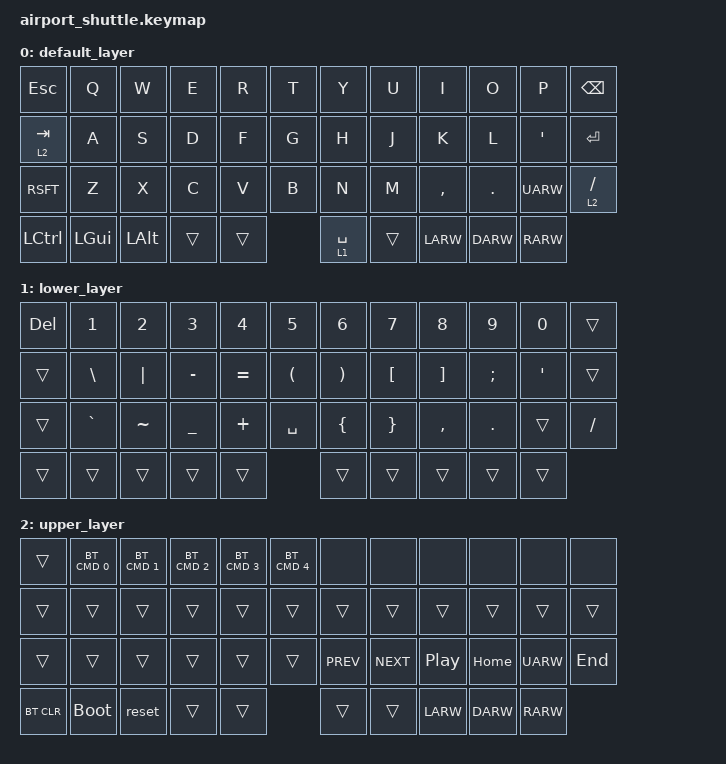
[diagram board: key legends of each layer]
#include <behaviors.dtsi>
#include <dt-bindings/zmk/keys.h>
#include <dt-bindings/zmk/bt.h>

/ {
  keymap {
    compatible = "zmk,keymap";

    default_layer {
      bindings = <
  &kp ESC       &kp Q    &kp W &kp E &kp R &kp T  &kp Y   &kp U  &kp I    &kp O   &kp P    &kp BKSP
  &lt 2 TAB     &kp A    &kp S &kp D &kp F &kp G  &kp H   &kp J  &kp K    &kp L   &kp QUOT &kp RET
  &kp RSFT      &kp Z    &kp X &kp C &kp V &kp B  &kp N   &kp M  &kp CMMA &kp DOT &kp UARW &lt 2 FSLH
  &kp LCTL      &kp LGUI &kp LALT &trans &trans &lt 1 SPC &trans &kp LARW &kp DARW &kp RARW
      >;
    };

    lower_layer {
      bindings = <
      &kp DEL &kp NUM_1   &kp NUM_2   &kp NUM_3   &kp NUM_4   &kp NUM_5   &kp NUM_6 &kp NUM_7 &kp NUM_8 &kp NUM_9 &kp NUM_0 &trans
      &trans  &kp BSLH &kp PIPE &kp MINUS &kp EQUAL &kp LPAR &kp RPAR &kp LBKT &kp RBKT &kp SEMI &kp SQT   &trans
      &trans  &kp GRAVE &kp TILDE &kp UNDER &kp PLUS &kp SPACE &kp LBRC &kp RBRC &kp COMMA &kp DOT   &trans    &kp FSLH
      &trans  &trans      &trans &trans &trans &trans &trans &trans &trans &trans
      >;
    };
    
    upper_layer {
      bindings = <
      &trans &bt BT_SEL_CMD 0 &bt BT_SEL_CMD 1 &bt BT_SEL_CMD 2 &bt BT_SEL_CMD 3 &bt BT_SEL_CMD 4 &none &none &none &none &none &none
      &trans &trans &trans &trans &trans &trans &trans &trans &trans &trans &trans &trans
      &trans &trans &trans &trans &trans &trans &kp C_PREV &kp C_NEXT &kp C_PP &kp HOME &kp UARW &kp END
      &bt BT_CLR  &bootloader &reset &trans &trans &trans &trans &kp LARW &kp DARW &kp RARW
      >;
    };
  };
};
